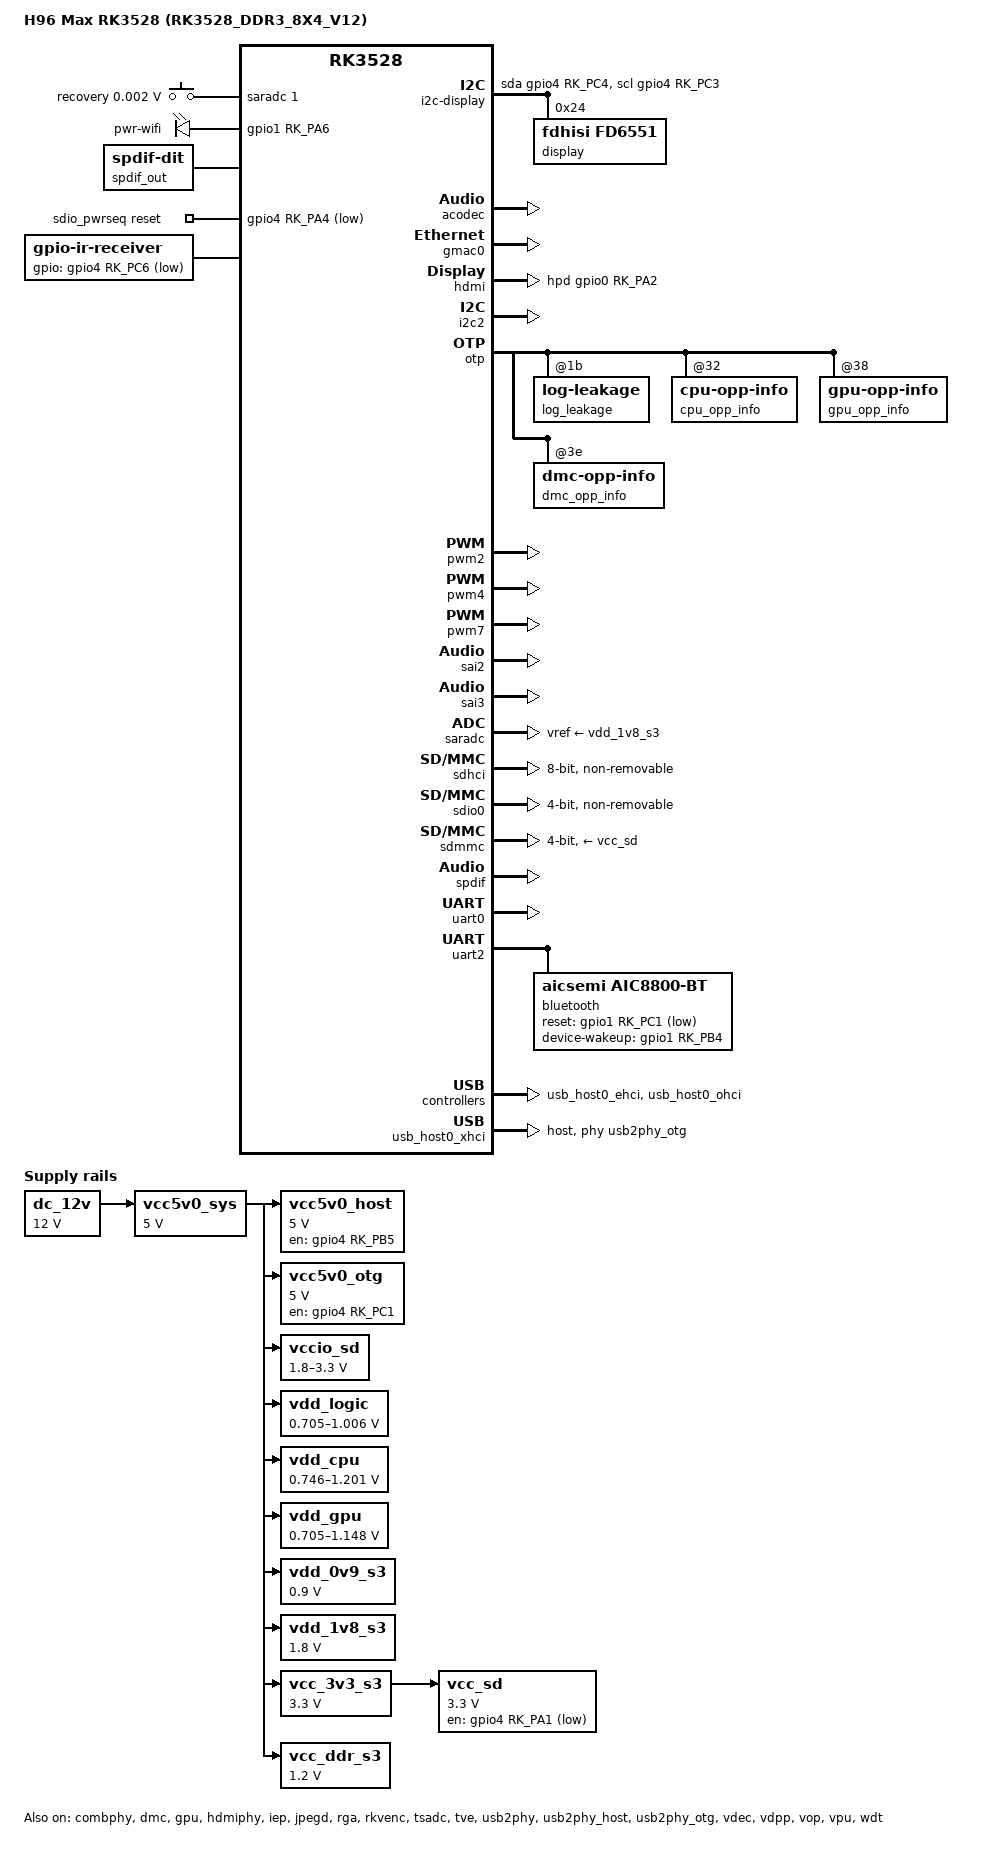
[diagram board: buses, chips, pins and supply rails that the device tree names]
/dts-v1/;

/*
 * Written by tools/dtcx/upstream.py from board.dts: a view, not edited.
 * Over gregkh/linux at v7.3.4.
 * Needs, beyond it, found by name and so best-effort: each
 * patch adding a name the tree uses or a dtsi change it keeps, which may in
 * turn need others before it:
 *   patches/linux-rockchip/6.12/bluetooth-hci-h4-serdev.patch:
 *     "aicsemi,aic8800-bt"
 *   patches/linux-rockchip-mainline/dt-bindings-rk3528.patch:
 *     "rockchip,rk3528-vdec", "rockchip,rk3528-tsadc", rockchip,grf, rockchip,hw-tshut-mode,
 *     rockchip,hw-tshut-polarity, rockchip,hw-tshut-temp, "rockchip,rk3528-vop", rockchip,pmu,
 *     "rockchip,rk3528-dw-hdmi", "rockchip,rk3528-hdmi-phy", "rockchip,rk3528-codec"
 *   patches/linux-rockchip-mainline/dt-bindings-rk3528-audio.patch:
 *     "rockchip,rk3528-sai", "rockchip,rk3576-sai"
 *   patches/linux-rockchip-mainline/dt-bindings-rk3528-core-grf.patch:
 *     "rockchip,rk3528-core-grf"
 *   patches/linux-rockchip-mainline/dt-bindings-rk3528-rga.patch:
 *     "rockchip,rk3528-rga"
 *   patches/linux-rockchip-mainline/dt-bindings-rockchip-iep2.patch:
 *     "rockchip,rk3528-iep"
 *   patches/linux-rockchip-mainline/dt-bindings-rockchip-vdpp.patch:
 *     "rockchip,rk3528-vdpp"
 *   patches/linux-rockchip-mainline/dt-bindings-rockchip-iommu-dlr.patch:
 *     rockchip,disable-device-link-resume
 *   patches/linux-rockchip-mainline/dt-bindings-rockchip-grf-rk3528-pmu.patch:
 *     "rockchip,rk3528-pmu-grf"
 *   patches/linux-rockchip-mainline/dt-bindings-rk3528-gpu-grf.patch:
 *     "rockchip,rk3528-gpu-grf"
 *   patches/linux-rockchip-mainline/dt-bindings-devfreq-rockchip-dfi-rk3528.patch:
 *     "rockchip,rk3528-dfi"
 *   patches/linux-rockchip-mainline/dt-bindings-rockchip-rk3528-dmc.patch:
 *     "rockchip,rk3528-dmc"
 *   patches/linux-rockchip-mainline/media-rkvdec-rk3528.patch:
 *     "rockchip,rk3528-vdec"
 *   patches/linux-rockchip-mainline/media-hantro-rk3528-bindings.patch:
 *     "rockchip,rk3528-vpu"
 *   patches/linux-rockchip-mainline/media-hantro-rk3528.patch:
 *     "rockchip,rk3528-vpu"
 *   patches/linux-rockchip-mainline/media-rga-rk3528.patch:
 *     "rockchip,rk3528-rga"
 *   patches/linux-rockchip-mainline/media-rockchip-iep2.patch:
 *     "rockchip,rk3528-iep"
 *   patches/linux-rockchip-mainline/devfreq-rockchip-dfi-rk3528.patch:
 *     "rockchip,rk3528-dfi"
 *   patches/linux-rockchip-mainline/devfreq-rk3528-dmc.patch:
 *     "rockchip,rk3528-dmc"
 *   patches/linux-rockchip-mainline/thermal-rk3528.patch:
 *     "rockchip,rk3528-tsadc", rockchip,hw-tshut-mode
 *   patches/linux-rockchip-mainline/cpufreq-rockchip-pvtm.patch:
 *     "rockchip,rk3528", "rockchip,rk3528-mali", rockchip,grf, rockchip,pvtm-freq,
 *     rockchip,pvtm-offset, rockchip,pvtm-sample-time, rockchip,pvtm-volt,
 *     rockchip,pvtm-voltage-sel
 *   patches/linux-rockchip-mainline/drm-rk3528.patch:
 *     "rockchip,rk3528-dw-hdmi", "rockchip,rk3528-vop", "rockchip,rk3528-hdmi-phy"
 *   patches/linux-rockchip-mainline/drm-rk3528-tve.patch:
 *     "rockchip,rk3528-tve", rockchip,grf
 *   patches/linux-rockchip-mainline/iommu-rockchip-attach-only.patch:
 *     rockchip,disable-device-link-resume
 *   patches/linux-rockchip-mainline/arm64-dts-rk3528-media-display.patch:
 *     &core_grf, &rmii0_phy nvmem-cells, &rmii0_phy nvmem-cell-names, &test_version,
 *     &macphy_txlevel, &vdac_out_current, &spdif, &rng, &rga, &rga_mmu, &iep, &iep_mmu, &vdpp,
 *     &jpegd, &jpegd_mmu, &vpu, &vdpu_mmu, &vdec_mmu, &vdec, &sram, &sai2, &acodec, &vop, &vop_mmu,
 *     &tve, &rkvenc, &rkvenc_mmu, &hdmi, &hdmiphy, &sai3, &tsadc, &display_subsystem
 *   patches/linux-rockchip-mainline/arm64-dts-rk3528-dfi.patch:
 *     &pmu_grf, &dfi
 *   patches/linux-rockchip-mainline/arm64-dts-rk3528-gpu-grf.patch:
 *     &gpu_grf
 *   patches/linux-rockchip-mainline/arm64-dts-rk3528-gpu-bus-clock.patch:
 *     &gpu assigned-clock-rates
 *   patches/linux-rockchip-mainline/arm64-dts-rk3528-dmc.patch:
 *     &dmc, &dmc_opp_table
 *   patches/linux-rockchip-mainline/asoc-rk3528-codec.patch:
 *     "rockchip,rk3528-codec"
 *   patches/linux-rockchip-mainline/media-rkjpegd-v7-bindings.patch:
 *     "rockchip,rk3588-jpegd"
 *   patches/linux-rockchip-mainline/media-rkjpegd-v7-driver.patch:
 *     "rockchip,rk3588-jpegd"
 *   patches/linux-rockchip-mainline/media-rkvenc-rk3528-bindings.patch:
 *     "rockchip,rk3528-rkvenc"
 *   patches/linux-rockchip-mainline/media-rkvenc-rk3528-vepu540c.patch:
 *     "rockchip,rk3528-rkvenc"
 *   patches/linux-rockchip-mainline/media-rockchip-vdpp.patch:
 *     "rockchip,rk3528-vdpp"
 * Left out, the distribution's, not the board's:
 *   /reserved-memory/ramoops@110000
 */

#include "rk3528.dtsi"
#include <dt-bindings/power/rockchip,rk3528-power.h>
#include <dt-bindings/gpio/gpio.h>
#include <dt-bindings/interrupt-controller/arm-gic.h>
#include <dt-bindings/interrupt-controller/irq.h>
#include <dt-bindings/pinctrl/rockchip.h>
#include <dt-bindings/input/linux-event-codes.h>
#include <dt-bindings/thermal/thermal.h>

/ {
	compatible = "h96max-rk3528,rk3528-tvbox", "rockchip,rk3528";
	model = "H96 Max RK3528 (RK3528_DDR3_8X4_V12)";

	aliases {
		ethernet0 = &gmac0;
		ethernet1 = &gmac1;
		i2c0 = &i2c0;
		i2c1 = &i2c1;
		i2c2 = &i2c2;
		i2c3 = &i2c3;
		i2c4 = &i2c4;
		i2c5 = &i2c5;
		i2c6 = &i2c6;
		i2c7 = &i2c7;
		serial0 = &uart0;
		serial1 = &uart1;
		serial2 = &uart2;
		serial3 = &uart3;
		serial4 = &uart4;
		serial5 = &uart5;
		serial6 = &uart6;
		serial7 = &uart7;
		spi0 = &spi0;
		spi1 = &spi1;
	};

	cpus {
		idle-states {
			entry-method = "psci";

			CPU_SLEEP0: cpu-sleep0 {
				compatible = "arm,idle-state";
				local-timer-stop;
				arm,psci-suspend-param = <0x10000>;
				entry-latency-us = <120>;
				exit-latency-us = <250>;
				min-residency-us = <900>;
				status = "disabled";
			};

			CPU_SLEEP1: cpu-sleep {
				compatible = "arm,idle-state";
				local-timer-stop;
				arm,psci-suspend-param = <0x10000>;
				entry-latency-us = <120>;
				exit-latency-us = <250>;
				min-residency-us = <900>;
				status = "okay";
			};
		};
	};

	firmware {
		optee {
			compatible = "linaro,optee-tz";
			method = "smc";
		};
	};

	reserved-memory {
		cma {
			compatible = "shared-dma-pool";
			reusable;
			size = <0x00 0x800000>;
			linux,cma-default;
		};
	};

	arm-pmu {
		compatible = "arm,cortex-a53-pmu";
		interrupts = <GIC_SPI 171 IRQ_TYPE_LEVEL_HIGH>,
		             <GIC_SPI 172 IRQ_TYPE_LEVEL_HIGH>,
		             <GIC_SPI 173 IRQ_TYPE_LEVEL_HIGH>,
		             <GIC_SPI 174 IRQ_TYPE_LEVEL_HIGH>;
		interrupt-affinity = <&cpu0>, <&cpu1>, <&cpu2>, <&cpu3>;
	};

	thermal_zones: thermal-zones {
		soc_thermal: soc-thermal {
			polling-delay-passive = <20>;
			polling-delay = <1000>;
			sustainable-power = <638>;
			thermal-sensors = <&tsadc 0>;

			trips {
				threshold: trip-point-0 {
					temperature = <95000>;
					hysteresis = <2000>;
					type = "passive";
				};

				target: trip-point-1 {
					temperature = <110000>;
					hysteresis = <2000>;
					type = "passive";
				};

				soc_crit: soc-crit {
					temperature = <120000>;
					hysteresis = <2000>;
					type = "critical";
				};
			};

			cooling-maps {
				map0 {
					trip = <&target>;
					cooling-device = <&cpu0 THERMAL_NO_LIMIT THERMAL_NO_LIMIT>;
					contribution = <1024>;
				};

				map1 {
					trip = <&target>;
					cooling-device = <&gpu THERMAL_NO_LIMIT THERMAL_NO_LIMIT>;
					contribution = <1024>;
				};
			};
		};
	};

	acodec_sound: acodec-sound {
		compatible = "simple-audio-card";
		simple-audio-card,name = "rk3528-acodec";
		simple-audio-card,format = "i2s";
		simple-audio-card,mclk-fs = <256>;
		status = "okay";

		simple-audio-card,cpu {
			sound-dai = <&sai2>;
		};

		simple-audio-card,codec {
			sound-dai = <&acodec>;
		};
	};

	adc_keys: adc-keys {
		compatible = "adc-keys";
		io-channels = <&saradc 1>;
		io-channel-names = "buttons";
		keyup-threshold-microvolt = <1800000>;
		poll-interval = <100>;
		status = "okay";

		button-recovery {
			press-threshold-microvolt = <1750>;
			linux,code = <KEY_VENDOR>;
			label = "recovery";
		};
	};

	dc_12v: dc-12v {
		compatible = "regulator-fixed";
		regulator-name = "dc_12v";
		regulator-always-on;
		regulator-boot-on;
		regulator-min-microvolt = <12000000>;
		regulator-max-microvolt = <12000000>;
	};

	leds: gpio-leds {
		compatible = "gpio-leds";

		pwr-wifi {
			gpios = <&gpio1 RK_PA6 GPIO_ACTIVE_HIGH>;
			linux,default-trigger = "none";
			default-state = "on";
		};
	};

	spdif-sound {
		compatible = "simple-audio-card";
		simple-audio-card,name = "ROCKCHIP,SPDIF";
		simple-audio-card,mclk-fs = <128>;
		status = "okay";

		simple-audio-card,cpu {
			sound-dai = <&spdif>;
		};

		simple-audio-card,codec {
			sound-dai = <&spdif_out>;
		};
	};

	spdif_out: spdif-out {
		compatible = "linux,spdif-dit";
		#sound-dai-cells = <0>;
		status = "okay";
	};

	vcc5v0_sys: vcc5v0-sys {
		compatible = "regulator-fixed";
		regulator-name = "vcc5v0_sys";
		regulator-always-on;
		regulator-boot-on;
		regulator-min-microvolt = <5000000>;
		regulator-max-microvolt = <5000000>;
		vin-supply = <&dc_12v>;
	};

	vcc5v0_host: vcc5v0-host-regulator {
		compatible = "regulator-fixed";
		regulator-name = "vcc5v0_host";
		regulator-boot-on;
		regulator-always-on;
		regulator-min-microvolt = <5000000>;
		regulator-max-microvolt = <5000000>;
		enable-active-high;
		gpio = <&gpio4 RK_PB5 GPIO_ACTIVE_HIGH>;
		vin-supply = <&vcc5v0_sys>;
		pinctrl-names = "default";
		pinctrl-0 = <&vcc5v0_host_en>;
	};

	vcc5v0_otg: vcc5v0-otg-regulator {
		compatible = "regulator-fixed";
		regulator-name = "vcc5v0_otg";
		regulator-min-microvolt = <5000000>;
		regulator-max-microvolt = <5000000>;
		enable-active-high;
		gpio = <&gpio4 RK_PC1 GPIO_ACTIVE_HIGH>;
		vin-supply = <&vcc5v0_sys>;
		pinctrl-names = "default";
		pinctrl-0 = <&vcc5v0_otg_en>;
	};

	vccio_sd: vccio-sd {
		compatible = "regulator-gpio";
		regulator-name = "vccio_sd";
		regulator-min-microvolt = <1800000>;
		regulator-max-microvolt = <3300000>;
		gpios = <&gpio4 RK_PB6 GPIO_ACTIVE_HIGH>;
		vin-supply = <&vcc5v0_sys>;
		states = <1800000 0 3300000 1>;
	};

	vdd_logic: vdd-logic {
		compatible = "pwm-regulator";
		pwms = <&pwm2 0 5000 1>;
		regulator-name = "vdd_logic";
		regulator-min-microvolt = <705000>;
		regulator-max-microvolt = <1006000>;
		regulator-always-on;
		regulator-boot-on;
		regulator-settling-time-up-us = <250>;
		pwm-supply = <&vcc5v0_sys>;
		status = "okay";
	};

	vdd_cpu: vdd-cpu {
		compatible = "pwm-regulator";
		pwms = <&pwm7 0 5000 1>;
		regulator-name = "vdd_cpu";
		regulator-min-microvolt = <746000>;
		regulator-max-microvolt = <1201000>;
		regulator-always-on;
		regulator-boot-on;
		regulator-settling-time-up-us = <250>;
		pwm-supply = <&vcc5v0_sys>;
		status = "okay";
	};

	vdd_gpu: vdd-gpu {
		compatible = "pwm-regulator";
		pwms = <&pwm4 0 5000 1>;
		regulator-name = "vdd_gpu";
		regulator-min-microvolt = <705000>;
		regulator-max-microvolt = <1148000>;
		regulator-always-on;
		regulator-boot-on;
		regulator-settling-time-up-us = <250>;
		pwm-supply = <&vcc5v0_sys>;
		status = "okay";
	};

	vdd_0v9_s3: vdd-0v9-s3 {
		compatible = "regulator-fixed";
		regulator-name = "vdd_0v9_s3";
		regulator-always-on;
		regulator-boot-on;
		regulator-min-microvolt = <900000>;
		regulator-max-microvolt = <900000>;
		vin-supply = <&vcc5v0_sys>;
	};

	vdd_1v8_s3: vdd-1v8-s3 {
		compatible = "regulator-fixed";
		regulator-name = "vdd_1v8_s3";
		regulator-always-on;
		regulator-boot-on;
		regulator-min-microvolt = <1800000>;
		regulator-max-microvolt = <1800000>;
		vin-supply = <&vcc5v0_sys>;
	};

	vcc_3v3_s3: vcc-3v3-s3 {
		compatible = "regulator-fixed";
		regulator-name = "vcc_3v3_s3";
		regulator-always-on;
		regulator-boot-on;
		regulator-min-microvolt = <3300000>;
		regulator-max-microvolt = <3300000>;
		vin-supply = <&vcc5v0_sys>;
	};

	vcc_sd: vcc-sd {
		compatible = "regulator-fixed";
		gpio = <&gpio4 RK_PA1 GPIO_ACTIVE_LOW>;
		regulator-name = "vcc_sd";
		regulator-min-microvolt = <3300000>;
		regulator-max-microvolt = <3300000>;
		vin-supply = <&vcc_3v3_s3>;
	};

	vcc_ddr_s3: vcc-ddr-s3 {
		compatible = "regulator-fixed";
		regulator-name = "vcc_ddr_s3";
		regulator-always-on;
		regulator-boot-on;
		regulator-min-microvolt = <1200000>;
		regulator-max-microvolt = <1200000>;
		vin-supply = <&vcc5v0_sys>;
	};

	sdio_pwrseq: sdio-pwrseq {
		compatible = "mmc-pwrseq-simple";
		pinctrl-names = "default";
		reset-gpios = <&gpio4 RK_PA4 GPIO_ACTIVE_LOW>;
		pinctrl-0 = <&wifi_enable_h>, <&clkm1_32k_out>;
	};

	ir-receiver {
		compatible = "gpio-ir-receiver";
		gpios = <&gpio4 RK_PC6 GPIO_ACTIVE_LOW>;
		pinctrl-names = "default";
		pinctrl-0 = <&ir_rx_gpio>;
	};

	i2c-display {
		compatible = "i2c-gpio";
		sda-gpios = <&gpio4 RK_PC4 (GPIO_ACTIVE_HIGH | GPIO_OPEN_DRAIN)>;
		scl-gpios = <&gpio4 RK_PC3 (GPIO_ACTIVE_HIGH | GPIO_OPEN_DRAIN)>;
		i2c-gpio,delay-us = <5>;
		#address-cells = <1>;
		#size-cells = <0>;

		display@24 {
			compatible = "fdhisi,fd6551";
			reg = <0x24>;
			default-brightness = <3>;

			digits {
				#address-cells = <1>;
				#size-cells = <0>;

				digit@0 {
					reg = <0>;
					segments = <4 3>, <4 1>, <4 2>, <4 6>, <4 4>, <4 5>, <4 0>;
				};

				digit@1 {
					reg = <1>;
					segments = <3 3>, <3 1>, <3 2>, <3 6>, <3 4>, <3 5>, <3 0>;
				};

				digit@2 {
					reg = <2>;
					segments = <2 3>, <2 1>, <2 2>, <2 6>, <2 4>, <2 5>, <2 0>;
				};

				digit@3 {
					reg = <3>;
					segments = <1 3>, <1 1>, <1 2>, <1 6>, <1 4>, <1 5>, <1 0>;
				};
			};

			leds {
				#address-cells = <2>;
				#size-cells = <0>;

				led@0,0 {
					reg = <0 0>;
					function = "alarm";
				};

				led@0,1 {
					reg = <0 1>;
					function = "usb";
				};

				led@0,2 {
					reg = <0 2>;
					function = "pause";
				};

				led@0,3 {
					reg = <0 3>;
					function = "play";
				};

				led@0,4 {
					reg = <0 4>;
					function = "colon";
				};

				led@0,5 {
					reg = <0 5>;
					function = "lan";
				};

				led@0,6 {
					reg = <0 6>;
					function = "wlan";
				};
			};
		};
	};

	hdmi-sound {
		compatible = "simple-audio-card";
		simple-audio-card,name = "rockchip,hdmi";
		simple-audio-card,format = "i2s";
		simple-audio-card,mclk-fs = <128>;

		simple-audio-card,cpu {
			sound-dai = <&sai3>;
			dai-tdm-slot-num = <2>;
			dai-tdm-slot-width = <32>;
		};

		simple-audio-card,codec {
			sound-dai = <&hdmi>;
		};
	};
};

&acodec {
	pa-ctl-gpios = <&gpio0 RK_PA0 GPIO_ACTIVE_HIGH>;
	status = "okay";
};

&combphy {
	status = "okay";
};

&cpu0 {
	#cooling-cells = <2>;
	dynamic-power-coefficient = <147>;
	cpu-idle-states = <&CPU_SLEEP0>;
	cpu-supply = <&vdd_cpu>;
};

&cpu1 {
	cpu-idle-states = <&CPU_SLEEP0>;
};

&cpu2 {
	cpu-idle-states = <&CPU_SLEEP1>;
};

&cpu3 {
	cpu-idle-states = <&CPU_SLEEP1>;
};

&cpu_opp_table {
	rockchip,pvtm-voltage-sel = <0 1320 0>, <1321 1350 1>, <1351 1375 2>, <1376 1405 3>,
	                            <1406 1435 4>, <1436 1470 5>, <1471 1505 6>,
	                            <1506 1540 7>, <1541 1575 8>, <1576 1610 9>,
	                            <1611 1640 10>, <1641 9999 11>;
	rockchip,pvtm-offset = <0x18>;
	rockchip,pvtm-sample-time = <1100>;
	rockchip,pvtm-freq = <1608000>;
	rockchip,pvtm-volt = <900000>;
	rockchip,grf = <&core_grf>;

	opp-1200000000 {
		opp-microvolt = <900000 900000 1100000>;
		opp-microvolt-L0 = <900000 900000 1100000>;
		opp-microvolt-L1 = <887500 887500 1100000>;
		opp-microvolt-L2 = <875000 875000 1100000>;
		opp-microvolt-L3 = <875000 875000 1100000>;
		opp-microvolt-L4 = <862500 862500 1100000>;
		opp-microvolt-L5 = <850000 850000 1100000>;
		opp-microvolt-L6 = <837500 837500 1100000>;
		opp-microvolt-L7 = <825000 825000 1100000>;
		opp-microvolt-L8 = <825000 825000 1100000>;
		opp-microvolt-L9 = <825000 825000 1100000>;
		opp-microvolt-L10 = <825000 825000 1100000>;
		opp-microvolt-L11 = <825000 825000 1100000>;
	};

	opp-1416000000 {
		opp-microvolt = <962500 962500 1100000>;
		opp-microvolt-L1 = <950000 950000 1100000>;
		opp-microvolt-L2 = <950000 950000 1100000>;
		opp-microvolt-L3 = <937500 937500 1100000>;
		opp-microvolt-L4 = <925000 925000 1100000>;
		opp-microvolt-L5 = <912500 912500 1100000>;
		opp-microvolt-L6 = <900000 900000 1100000>;
		opp-microvolt-L7 = <887500 887000 1100000>;
		opp-microvolt-L8 = <875000 875000 1100000>;
		opp-microvolt-L9 = <862500 862500 1100000>;
		opp-microvolt-L10 = <850000 850000 1100000>;
		opp-microvolt-L11 = <850000 850000 1100000>;
		opp-microvolt-L0 = <962500 962500 1100000>;
	};

	opp-1608000000 {
		opp-microvolt = <1012500 1012500 1100000>;
		opp-microvolt-L2 = <1000000 1000000 1100000>;
		opp-microvolt-L3 = <987500 987500 1100000>;
		opp-microvolt-L4 = <975000 975000 1100000>;
		opp-microvolt-L5 = <962500 962500 1100000>;
		opp-microvolt-L6 = <950000 950000 1100000>;
		opp-microvolt-L7 = <937500 937500 1100000>;
		opp-microvolt-L8 = <925000 925000 1100000>;
		opp-microvolt-L9 = <912500 912500 1100000>;
		opp-microvolt-L10 = <900000 900000 1100000>;
		opp-microvolt-L11 = <887500 887500 1100000>;
		opp-microvolt-L0 = <1012500 1012500 1100000>;
		opp-microvolt-L1 = <1012500 1012500 1100000>;
	};

	opp-1800000000 {
		opp-microvolt = <1062500 1062500 1100000>;
		opp-microvolt-L1 = <1050000 1050000 1100000>;
		opp-microvolt-L2 = <1037500 1037500 1100000>;
		opp-microvolt-L3 = <1025000 1025000 1100000>;
		opp-microvolt-L4 = <1012500 1012500 1100000>;
		opp-microvolt-L5 = <1000000 1000000 1100000>;
		opp-microvolt-L6 = <987500 987500 1100000>;
		opp-microvolt-L7 = <975000 975000 1100000>;
		opp-microvolt-L8 = <962500 962500 1100000>;
		opp-microvolt-L9 = <950000 950000 1100000>;
		opp-microvolt-L10 = <937500 937500 1100000>;
		opp-microvolt-L11 = <925000 925000 1100000>;
		opp-microvolt-L0 = <1062500 1062500 1100000>;
	};

	opp-2016000000 {
		opp-microvolt-L1 = <1087500 1087500 1100000>;
		opp-microvolt-L2 = <1075000 1075000 1100000>;
		opp-microvolt-L3 = <1062500 1062500 1100000>;
		opp-microvolt-L4 = <1050000 1050000 1100000>;
		opp-microvolt-L5 = <1037500 1037500 1100000>;
		opp-microvolt-L6 = <1025000 1025000 1100000>;
		opp-microvolt-L7 = <1012500 1012500 1100000>;
		opp-microvolt-L8 = <1000000 1000000 1100000>;
		opp-microvolt-L9 = <987500 987500 1100000>;
		opp-microvolt-L10 = <975000 975000 1100000>;
		opp-microvolt-L11 = <962500 962500 1100000>;
		opp-microvolt-L0 = <1100000 1100000 1100000>;
	};

	opp-408000000 {
		opp-hz = /bits/ 64 <408000000>;
		opp-microvolt = <862500 862500 1100000>;
		opp-microvolt-L0 = <862500 862500 1100000>;
		opp-microvolt-L1 = <862500 862500 1100000>;
		opp-microvolt-L2 = <862500 862500 1100000>;
		opp-microvolt-L3 = <862500 862500 1100000>;
		opp-microvolt-L4 = <862500 862500 1100000>;
		opp-microvolt-L5 = <837500 837500 1100000>;
		clock-latency-ns = <40000>;
		opp-suspend;
		opp-microvolt-L6 = <825000 825000 1100000>;
		opp-microvolt-L7 = <825000 825000 1100000>;
		opp-microvolt-L8 = <825000 825000 1100000>;
		opp-microvolt-L9 = <825000 825000 1100000>;
		opp-microvolt-L10 = <825000 825000 1100000>;
		opp-microvolt-L11 = <825000 825000 1100000>;
	};

	opp-600000000 {
		opp-hz = /bits/ 64 <600000000>;
		opp-microvolt = <862500 862500 1100000>;
		opp-microvolt-L0 = <862500 862500 1100000>;
		opp-microvolt-L1 = <862500 862500 1100000>;
		opp-microvolt-L2 = <862500 862500 1100000>;
		opp-microvolt-L3 = <862500 862500 1100000>;
		opp-microvolt-L4 = <862500 862500 1100000>;
		opp-microvolt-L5 = <837500 837500 1100000>;
		clock-latency-ns = <40000>;
		opp-microvolt-L6 = <825000 825000 1100000>;
		opp-microvolt-L7 = <825000 825000 1100000>;
		opp-microvolt-L8 = <825000 825000 1100000>;
		opp-microvolt-L9 = <825000 825000 1100000>;
		opp-microvolt-L10 = <825000 825000 1100000>;
		opp-microvolt-L11 = <825000 825000 1100000>;
	};

	opp-816000000 {
		opp-hz = /bits/ 64 <816000000>;
		opp-microvolt = <862500 862500 1100000>;
		opp-microvolt-L0 = <862500 862500 1100000>;
		opp-microvolt-L1 = <862500 862500 1100000>;
		opp-microvolt-L2 = <862500 862500 1100000>;
		opp-microvolt-L3 = <862500 862500 1100000>;
		opp-microvolt-L4 = <862500 862500 1100000>;
		opp-microvolt-L5 = <837500 837500 1100000>;
		clock-latency-ns = <40000>;
		opp-microvolt-L6 = <825000 825000 1100000>;
		opp-microvolt-L7 = <825000 825000 1100000>;
		opp-microvolt-L8 = <825000 825000 1100000>;
		opp-microvolt-L9 = <825000 825000 1100000>;
		opp-microvolt-L10 = <825000 825000 1100000>;
		opp-microvolt-L11 = <825000 825000 1100000>;
	};

	opp-1008000000 {
		opp-hz = /bits/ 64 <1008000000>;
		opp-microvolt = <862500 862500 1100000>;
		opp-microvolt-L0 = <862500 862500 1100000>;
		opp-microvolt-L1 = <862500 862500 1100000>;
		opp-microvolt-L2 = <862500 862500 1100000>;
		opp-microvolt-L3 = <862500 862500 1100000>;
		opp-microvolt-L4 = <862500 862500 1100000>;
		opp-microvolt-L5 = <837500 837500 1100000>;
		clock-latency-ns = <40000>;
		opp-microvolt-L6 = <825000 825000 1100000>;
		opp-microvolt-L7 = <825000 825000 1100000>;
		opp-microvolt-L8 = <825000 825000 1100000>;
		opp-microvolt-L9 = <825000 825000 1100000>;
		opp-microvolt-L10 = <825000 825000 1100000>;
		opp-microvolt-L11 = <825000 825000 1100000>;
	};
};

&dmc {
	center-supply = <&vdd_logic>;
	status = "okay";
};

&dmc_opp_table {
	opp-920000000 {
		opp-hz = /bits/ 64 <920000000>;
		opp-microvolt = <850000 850000 1000000>;
	};

	opp-1056000000 {
		opp-hz = /bits/ 64 <1056000000>;
		opp-microvolt = <875000 875000 1000000>;
		opp-microvolt-L0 = <875000 875000 1000000>;
		opp-microvolt-L1 = <850000 850000 1000000>;
		opp-microvolt-L2 = <850000 850000 1000000>;
		opp-microvolt-L3 = <850000 850000 1000000>;
		opp-microvolt-L4 = <850000 850000 1000000>;
	};
};

&gmac0 {
	clock_in_out = "input";
	status = "okay";
};

&gpu {
	#cooling-cells = <2>;
	mali-supply = <&vdd_gpu>;
	dynamic-power-coefficient = <724>;
	status = "okay";
};

&gpu_opp_table {
	rockchip,pvtm-voltage-sel = <0 750 0>, <751 770 1>, <771 790 2>, <791 810 3>,
	                            <811 830 4>, <831 850 5>, <851 870 6>, <871 890 7>,
	                            <891 9999 8>;
	rockchip,pvtm-offset = <24>;
	rockchip,pvtm-sample-time = <1100>;
	rockchip,pvtm-freq = <800000>;
	rockchip,pvtm-volt = <900000>;
	rockchip,grf = <&gpu_grf>;

	opp-300000000 {
		opp-microvolt-L5 = <850000 850000 1000000>;
		opp-microvolt-L6 = <837500 837500 1000000>;
		opp-microvolt-L7 = <825000 825000 1000000>;
		opp-microvolt-L8 = <825000 825000 1000000>;
		opp-microvolt-L0 = <875000 875000 1000000>;
		opp-microvolt-L1 = <875000 875000 1000000>;
		opp-microvolt-L2 = <875000 875000 1000000>;
		opp-microvolt-L3 = <875000 875000 1000000>;
		opp-microvolt-L4 = <875000 875000 1000000>;
	};

	opp-500000000 {
		opp-microvolt-L5 = <850000 850000 1000000>;
		opp-microvolt-L6 = <837500 837500 1000000>;
		opp-microvolt-L7 = <825000 825000 1000000>;
		opp-microvolt-L8 = <825000 825000 1000000>;
		opp-microvolt-L0 = <875000 875000 1000000>;
		opp-microvolt-L1 = <875000 875000 1000000>;
		opp-microvolt-L2 = <875000 875000 1000000>;
		opp-microvolt-L3 = <875000 875000 1000000>;
		opp-microvolt-L4 = <875000 875000 1000000>;
	};

	opp-600000000 {
		opp-microvolt-L5 = <850000 850000 1000000>;
		opp-microvolt-L6 = <837500 837500 1000000>;
		opp-microvolt-L7 = <825000 825000 1000000>;
		opp-microvolt-L8 = <825000 825000 1000000>;
		opp-microvolt-L0 = <875000 875000 1000000>;
		opp-microvolt-L1 = <875000 875000 1000000>;
		opp-microvolt-L2 = <875000 875000 1000000>;
		opp-microvolt-L3 = <875000 875000 1000000>;
		opp-microvolt-L4 = <875000 875000 1000000>;
	};

	opp-700000000 {
		opp-microvolt-L1 = <887500 887500 1000000>;
		opp-microvolt-L2 = <875000 875000 1000000>;
		opp-microvolt-L3 = <875000 875000 1000000>;
		opp-microvolt-L4 = <875000 875000 1000000>;
		opp-microvolt-L5 = <850000 850000 1000000>;
		opp-microvolt-L6 = <837500 837500 1000000>;
		opp-microvolt-L7 = <825000 825000 1000000>;
		opp-microvolt-L8 = <825000 825000 1000000>;
		clock-latency-ns = <40000>;
		opp-microvolt-L0 = <900000 900000 1000000>;
	};

	opp-800000000 {
		opp-microvolt-L1 = <937500 937500 1000000>;
		opp-microvolt-L2 = <925000 925000 1000000>;
		opp-microvolt-L3 = <912500 912500 1000000>;
		opp-microvolt-L4 = <900000 900000 1000000>;
		opp-microvolt-L5 = <887500 887500 1000000>;
		opp-microvolt-L6 = <875000 875000 1000000>;
		opp-microvolt-L7 = <862500 862500 1000000>;
		opp-microvolt-L8 = <850000 850000 1000000>;
		clock-latency-ns = <40000>;
		opp-microvolt-L0 = <950000 950000 1000000>;
	};
};

&hdmi {
	pinctrl-names = "default";
	pinctrl-0 = <&hdmi_pins>;
	hpd-gpios = <&gpio0 RK_PA2 GPIO_ACTIVE_HIGH>;
	ddc-i2c-bus = <&i2c2>;
	status = "okay";
};

&hdmi_pins {
	rockchip,pins = <0 RK_PA3 1 &pcfg_pull_none>;
};

&hdmiphy {
	status = "okay";
};

&i2c2 {
	pinctrl-0 = <&i2c2m0_xfer>;
	status = "okay";
};

&iep {
	status = "okay";
};

&iep_mmu {
	status = "okay";
};

&jpegd {
	status = "okay";
};

&jpegd_mmu {
	status = "okay";
};

&otp {
	log_leakage: log-leakage@1b {
		reg = <0x1b 0x01>;
	};

	macphy_bgs: macphy-bgs@2d {
		reg = <0x2d 0x01>;
	};

	cpu_opp_info: cpu-opp-info@32 {
		reg = <0x32 0x06>;
	};

	gpu_opp_info: gpu-opp-info@38 {
		reg = <0x38 0x06>;
	};

	dmc_opp_info: dmc-opp-info@3e {
		reg = <0x3e 0x06>;
	};
};

&pinctrl {
	pwm3 {
		ir_rx_gpio: ir-rx-gpio {
			rockchip,pins = <4 RK_PC6 RK_FUNC_GPIO &pcfg_pull_none>;
		};
	};

	pcfg_output_high_pull_up: pcfg-output-high-pull-up {
		output-high;
		bias-pull-up;
	};

	pcfg_output_high_pull_down: pcfg-output-high-pull-down {
		output-high;
		bias-pull-down;
	};

	pcfg_output_high_pull_none: pcfg-output-high-pull-none {
		output-high;
		bias-disable;
	};

	pcfg_output_low_pull_up: pcfg-output-low-pull-up {
		output-low;
		bias-pull-up;
	};

	pcfg_output_low_pull_down: pcfg-output-low-pull-down {
		output-low;
		bias-pull-down;
	};

	pcfg_output_low_pull_none: pcfg-output-low-pull-none {
		output-low;
		bias-disable;
	};

	usb {
		vcc5v0_host_en: vcc5v0-host-en-pins {
			rockchip,pins = <4 RK_PB5 RK_FUNC_GPIO &pcfg_pull_none>;
		};

		vcc5v0_otg_en: vcc5v0-otg-en-pins {
			rockchip,pins = <4 RK_PC1 RK_FUNC_GPIO &pcfg_pull_none>;
		};
	};

	sdio-pwrseq {
		wifi_enable_h: wifi-enable-h-pins {
			rockchip,pins = <4 RK_PA4 RK_FUNC_GPIO &pcfg_pull_none>;
		};
	};
};

&power {
	power-domain@5 {
		status = "okay";
	};
};

&pwm2 {
	pinctrl-names = "default";
	pinctrl-0 = <&pwm2m0_pins>;
	status = "okay";
};

&pwm4 {
	pinctrl-names = "default";
	pinctrl-0 = <&pwm4m0_pins>;
	status = "okay";
};

&pwm7 {
	pinctrl-names = "default";
	pinctrl-0 = <&pwm7m0_pins>;
	status = "okay";
};

&rga {
	status = "okay";
};

&rga_mmu {
	status = "okay";
};

&rkvenc {
	status = "okay";
};

&rkvenc_mmu {
	status = "okay";
};

&sai2 {
	status = "okay";
};

&sai3 {
	status = "okay";
};

&saradc {
	vref-supply = <&vdd_1v8_s3>;
	status = "okay";
};

&sdhci {
	bus-width = <8>;
	no-sd;
	no-sdio;
	non-removable;
	mmc-hs400-1_8v;
	mmc-hs400-enhanced-strobe;
	status = "okay";
};

&sdio0 {
	pinctrl-0 = <&sdio0_bus4>, <&sdio0_cmd>, <&sdio0_clk>;
	no-sd;
	no-mmc;
	bus-width = <4>;
	disable-wp;
	cap-sd-highspeed;
	cap-sdio-irq;
	keep-power-in-suspend;
	non-removable;
	mmc-pwrseq = <&sdio_pwrseq>;
	sd-uhs-sdr104;
	status = "okay";
};

&sdmmc {
	pinctrl-0 = <&sdmmc_clk>, <&sdmmc_cmd>, <&sdmmc_det>, <&sdmmc_bus4>;
	bus-width = <4>;
	cap-mmc-highspeed;
	cap-sd-highspeed;
	disable-wp;
	sd-uhs-sdr12;
	sd-uhs-sdr25;
	sd-uhs-sdr50;
	sd-uhs-sdr104;
	vqmmc-supply = <&vccio_sd>;
	vmmc-supply = <&vcc_sd>;
	status = "okay";
};

&spdif {
	status = "okay";
};

&tsadc {
	status = "okay";
};

&tve {
	status = "okay";
};

&uart0 {
	pinctrl-names = "default";
	pinctrl-0 = <&uart0m0_xfer>;
	status = "okay";
};

&uart2 {
	pinctrl-names = "default";
	pinctrl-0 = <&uart2m1_xfer>, <&uart2m1_ctsn>, <&uart2m1_rtsn>;
	status = "okay";

	bluetooth {
		compatible = "aicsemi,aic8800-bt"; /* the AIC8800's Bluetooth half */
		max-speed = <1500000>;
		reset-gpios = <&gpio1 RK_PC1 GPIO_ACTIVE_LOW>;
		device-wakeup-gpios = <&gpio1 RK_PB4 GPIO_ACTIVE_HIGH>;
	};
};

&usb2phy {
	status = "okay";
};

&usb2phy_host {
	phy-supply = <&vcc5v0_host>;
	status = "okay";
};

&usb2phy_otg {
	phy-supply = <&vcc5v0_otg>;
	status = "okay";
};

&usb_host0_ehci {
	status = "okay";
};

&usb_host0_ohci {
	status = "okay";
};

&usb_host0_xhci {
	dr_mode = "host";
	phys = <&usb2phy_otg>;
	phy-names = "usb2-phy";
	snps,dis-u1u2-quirk;
	maximum-speed = "high-speed";
	snps,usb2-lpm-disable;
	status = "okay";
};

/*
 * No power-domains on purpose.  rk3528.dtsi leaves
 * power-domain@RK3528_PD_RKVDEC disabled, so referencing it makes both
 * devices fail with deferred probe timeouts.  The vendor DTB does not
 * use a power domain here either: the RK3528 vdec domain is defined with
 * a zero power mask, i.e. bus idle handshake only, permanently powered.
 */
&vdec {
	status = "okay";
};

/*
 * The vendor DTB uses the BSP-only "rockchip,iommu-v2"; mainline reaches
 * the same v2 ops through "rockchip,rk3568-iommu".
 */
&vdec_mmu {
	status = "okay";
};

&vdpp {
	status = "okay";
};

&vdpu_mmu {
	status = "okay";
};

&vop {
	esmart_lb_mode = [02]; /* Esmart0 a 4K line buffer for HDMI */
	status = "okay";
};

&vop_mmu {
	status = "okay";
};

/* VDPU2, as on RK3568: MPEG-2, VP8 and H.264 behind the decoder at +0x400. */
&vpu {
	status = "okay";
};

&wdt {
	status = "okay";
};
